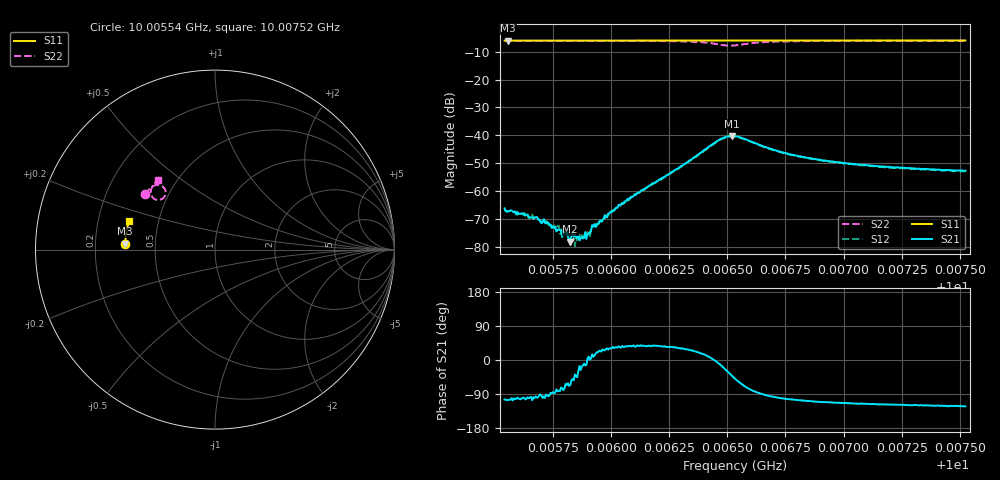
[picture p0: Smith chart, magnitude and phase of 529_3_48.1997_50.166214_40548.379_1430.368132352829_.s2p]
#  HZ  S  RI  R  50.00
! Rohde & Schwarz Vector Network Analyzer
! Rohde-Schwarz,ZNB20-2Port,1311601062101988,3.16
! Created: UTC 3/20/2024, 11:59:49 AM
! freq[Hz]  re:S11  im:S11  re:S21  im:S21  re:S12  im:S12  re:S22  im:S22
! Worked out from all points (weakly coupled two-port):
!   401 points, 10.00554 GHz to 10.00752 GHz, reference 50 ohm
!   highest |S21| = -40.25 dB at 10.00652 GHz (marker M1); lowest = -78.2 dB at 10.00582 GHz (marker M2)
!   lowest |S11| = -6.0 dB at 10.00556 GHz (marker M3), VSWR 3.01, Z = 16.6 + j1.45 ohm
!   |S11| at or under -10 dB: nowhere
!   |S22| runs from -7.8 to -6.0 dB; largest |S21 - S12| = 0.00062
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1.0005541e10  -0.5003 0.0317  -0.00012 -0.000472  -0.000102 -0.000461  -0.389 0.3088
1.0005556e10  -0.5001 0.0326  -0.000117 -0.000414  -7.24e-05 -0.000428  -0.3882 0.3097
1.000568e10  -0.4999 0.0409  -5.56e-05 -0.000335  -4.94e-05 -0.000322  -0.3826 0.3171
1.000574e10  -0.4995 0.0447  1.43e-05 -0.000246  2.48e-05 -0.000215  -0.3798 0.3207
1.0005764e10  -0.4995 0.0463  3.98e-05 -0.000183  3.66e-05 -0.000224  -0.3785 0.3222
1.0005789e10  -0.4995 0.048  4.03e-05 -0.000144  6.73e-05 -0.000198  -0.3774 0.3238
1.0005824e10  -0.4993 0.0502  5.05e-05 -0.000113  0.0001 -0.000108  -0.3754 0.326
1.0005834e10  -0.4993 0.0509  0.000109 -0.000131  8.79e-05 -9e-05  -0.375 0.3264
1.0005844e10  -0.4992 0.0515  0.000129 -0.000102  7.67e-05 -6.72e-05  -0.3745 0.3272
1.0005873e10  -0.499 0.0536  0.00014 -4.12e-05  0.000152 -4.92e-05  -0.3727 0.329
1.0005898e10  -0.4989 0.0551  0.000168 1.19e-05  0.00018 1.12e-05  -0.3712 0.3306
1.0005923e10  -0.4989 0.0566  0.000227 3.45e-05  0.00023 7.2e-05  -0.3698 0.3322
1.0005948e10  -0.4986 0.0582  0.000245 0.000111  0.000258 0.000112  -0.3683 0.3339
1.0006032e10  -0.4982 0.0638  0.000456 0.000331  0.000415 0.00031  -0.3627 0.3396
1.0006206e10  -0.4969 0.0749  0.00127 0.000964  0.00119 0.000948  -0.3462 0.3522
1.0006458e10  -0.494 0.0911  0.00792 -0.001  0.00778 -0.0005  -0.277 0.3313
1.0006518e10  -0.4934 0.0945  0.00735 -0.00635  0.00757 -0.00577  -0.2914 0.2847
1.0006533e10  -0.4933 0.0953  0.00627 -0.00729  0.00655 -0.00682  -0.3031 0.2785
1.0006726e10  -0.492 0.1075  -0.000919 -0.005  -0.000658 -0.00494  -0.3579 0.3253
1.0006865e10  -0.4902 0.1165  -0.00124 -0.00361  -0.00104 -0.00363  -0.3517 0.3458
1.0007197e10  -0.4854 0.1376  -0.00125 -0.00242  -0.00109 -0.00238  -0.3334 0.3718
1.0007524e10  -0.4799 0.158  -0.00123 -0.00195  -0.00109 -0.00198  -0.3162 0.3897
